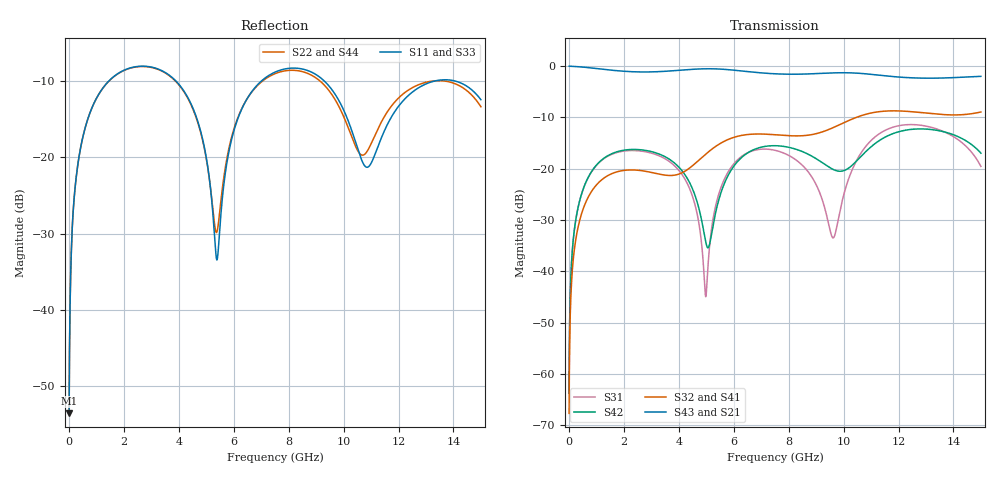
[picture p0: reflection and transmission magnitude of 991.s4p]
! Created with skrf 1.8.0 (http://scikit-rf.org).
# GHz S RI R 50.0
!freq ReS11 ImS11 ReS12 ImS12 ReS13 ImS13
! ReS14 ImS14
! ReS21 ImS21 ReS22 ImS22 ReS23 ImS23
! ReS24 ImS24
! ReS31 ImS31 ReS32 ImS32 ReS33 ImS33
! ReS34 ImS34
! ReS41 ImS41 ReS42 ImS42 ReS43 ImS43
! ReS44 ImS44
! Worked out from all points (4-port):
!   2499 points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, 5 MHz to 15 GHz, reference 50 ohm
!   strongest paths, dB at 5 MHz, 3.476 GHz, 7.19 GHz, 11.1 GHz, 15 GHz:
!     S43: 0.0, -1.0, -1.4, -1.7, -2.0
!     S21: 0.0, -1.0, -1.4, -1.7, -2.0
!     S32: -67.6, -21.2, -13.3, -9.0, -8.9
!     S41: -67.6, -21.3, -13.3, -9.1, -9.0
!     S42: -63.8, -17.6, -15.6, -15.3, -17.0
!     S31: -63.8, -18.0, -16.2, -14.0, -19.5
!   lowest |S11| = -53.6 dB at 5 MHz (marker M1), VSWR 1.00, Z = 50.2 + j0.128 ohm
!   |S11| at or under -10 dB: start of sweep to 1.45 GHz; 3.896 GHz to 7.006 GHz (3.111 GHz wide, 57.1 % of centre); 9.299 GHz to 13.31 GHz (4.015 GHz wide, 35.5 % of centre)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
0.005  0.00167 0.00127  0.9983 -0.00325  8.32e-05 0.000644  -8.1e-05 -0.000407
       0.9983 -0.00325  0.00167 0.00127  -8.1e-05 -0.000407  8.33e-05 0.000644
       8.32e-05 0.000644  -8.1e-05 -0.000407  0.00167 0.00127  0.9983 -0.00325
       -8.1e-05 -0.000407  8.33e-05 0.000644  0.9983 -0.00325  0.00167 0.00127
0.3126303  0.0248 0.0835  0.9662 -0.202  0.0109 0.0382  -0.00927 -0.0238
           0.9662 -0.202  0.0247 0.0835  -0.00928 -0.0238  0.0113 0.0381
           0.0109 0.0382  -0.00928 -0.0238  0.0248 0.0835  0.9662 -0.202
           -0.00927 -0.0238  0.0113 0.0381  0.9662 -0.202  0.0247 0.0835
1.519383  0.2711 0.1794  0.5512 -0.729  0.1215 0.0632  -0.0883 -0.00669
          0.5512 -0.729  0.2692 0.1808  -0.0884 -0.00659  0.1268 0.056
          0.1215 0.0632  -0.0884 -0.00659  0.2711 0.1795  0.5512 -0.729
          -0.0883 -0.00669  0.1268 0.056  0.5512 -0.729  0.2693 0.1808
4.977074  0.0434 -0.0958  -0.895 -0.2925  0.00567 0.000284  -0.0394 0.1328
          -0.895 -0.2925  0.053 -0.0887  -0.0379 0.1333  -0.0169 -0.00989
          0.00567 0.000284  -0.0379 0.1333  0.0442 -0.0962  -0.8948 -0.2928
          -0.0394 0.1328  -0.0169 -0.00989  -0.8948 -0.2928  0.0526 -0.0895
8.315965  0.3824 -0.0301  0.00208 0.8329  0.1045 -0.0571  0.2026 -0.0482
          0.00208 0.8329  0.3694 -0.022  0.2024 -0.0517  0.1035 -0.1132
          0.1045 -0.0571  0.2024 -0.0517  0.3801 -0.0311  0.00218 0.8337
          0.2026 -0.0482  0.1035 -0.1132  0.00218 0.8337  0.368 -0.0213
11.06086  0.0943 0.0186  0.8279 -0.021  0.0684 0.1827  -0.024 -0.35
          0.8279 -0.021  0.1217 0.044  -0.0302 -0.3504  0.00207 0.1687
          0.0684 0.1827  -0.0302 -0.3504  0.0906 0.0189  0.8278 -0.0217
          -0.024 -0.35  0.00207 0.1687  0.8278 -0.0217  0.1248 0.0465
15  0.1839 -0.152  -0.4428 -0.6588  0.051 -0.0922  -0.2769 0.2225
    -0.4428 -0.6588  0.1753 -0.1237  -0.2697 0.2341  0.0194 -0.1405
    0.051 -0.0922  -0.2697 0.2341  0.1833 -0.1433  -0.4445 -0.6587
    -0.2769 0.2225  0.0194 -0.1405  -0.4445 -0.6587  0.1685 -0.1294
